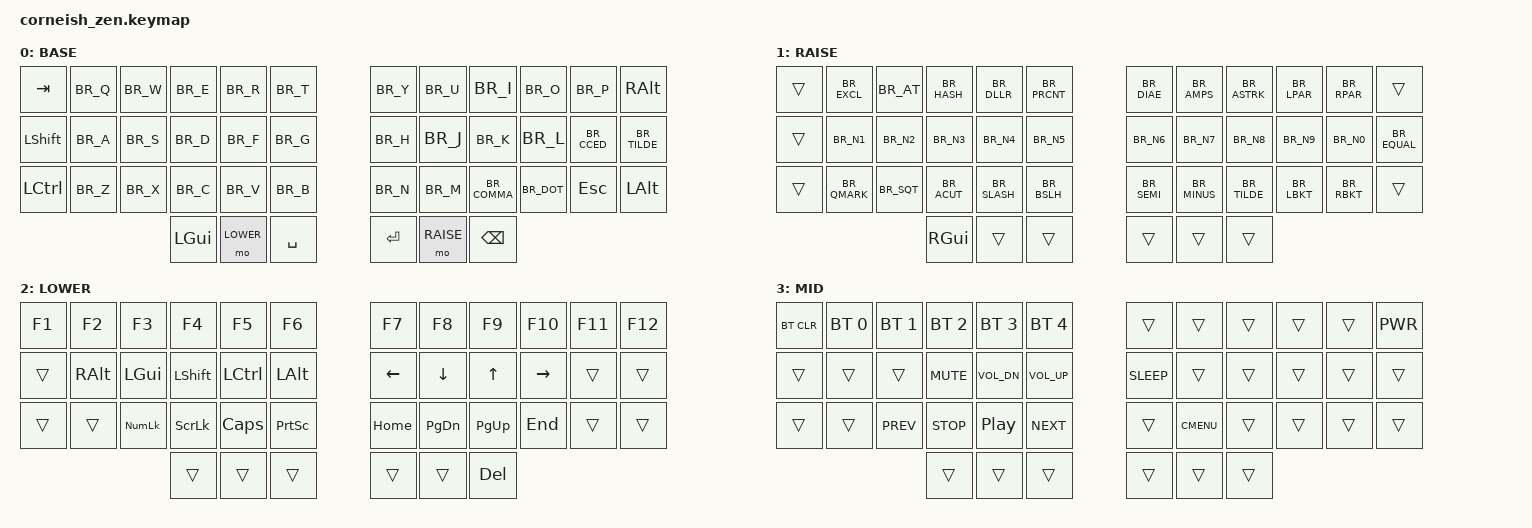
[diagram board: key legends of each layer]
#include <behaviors.dtsi>
#include <dt-bindings/zmk/keys.h>
#include <dt-bindings/zmk/bt.h>
#include "abnt2.h"

#define BASE 0
#define RAISE 1
#define LOWER 2
#define MID 3

/ {
      conditional_layers {
         compatible = "zmk,conditional-layers";
         tri_layer {
            if-layers = <RAISE LOWER>;
            then-layer = <MID>;
         };
      };
};

/ {
      chosen {
         zmk,matrix_transform = &default_transform;
         //zmk,matrix_transform = &five_column_transform;
      };
};

/ {
      keymap {
         compatible = "zmk,keymap";

         default_layer {
               label = "BASE";
// |     TAB    |      Q     |     W     |     E     |      R     |      T     |  |      Y      |      U      |      I     |     O      |     P      |     ALTGR  |
// |     SHFT   |      A     |     S     |     D     |      F     |      G     |  |      H      |      J      |      K     |     L      |     Ç      |            |
// |     CTRL   |      Z     |     X     |     C     |      V     |      B     |  |      N      |      M      |      ,     |     .      |     ESC    |     ALT    |
//                                       |     GUI   |      LOWER |      SPC   |  |      ENT    |      RAISE  |      BKSP  |
               bindings = < 
   &kp TAB   &kp BR_Q  &kp BR_W  &kp BR_E  &kp BR_R  &kp BR_T                            &kp BR_Y  &kp BR_U   &kp BR_I     &kp BR_O   &kp BR_P    &kp RALT
   &kp LSHFT &kp BR_A  &kp BR_S  &kp BR_D  &kp BR_F  &kp BR_G                            &kp BR_H  &kp BR_J   &kp BR_K     &kp BR_L   &kp BR_CCED &kp BR_TILDE
   &kp LCTRL &kp BR_Z  &kp BR_X  &kp BR_C  &kp BR_V  &kp BR_B                            &kp BR_N  &kp BR_M   &kp BR_COMMA &kp BR_DOT &kp ESC     &kp LALT
                                 &kp LGUI  &mo LOWER &kp SPACE                           &kp RET &mo RAISE  &kp BSPC
                        >;
                };

         raise_layer {
               label = "RAISE";
// |            |      !     |      @     |      #     |      $     |     %     |  |      ¨      |      &     |      *     |      (     |      )     |            |
// |            |      1     |      2     |      3     |      4     |     5     |  |      6      |      7     |      8     |      9     |      0     |      =     |
// |            |      ?     |      '     |      `     |      /     |     \     |  |      ;      |      -     |      ~     |      [     |      ]     |            |
//                                        |      GUI   |            |           |  |             |            |            |
               bindings = <
   &trans &kp BR_EXCL  &kp BR_AT  &kp BR_HASH  &kp BR_DLLR  &kp BR_PRCNT                  &kp BR_DIAE &kp BR_AMPS  &kp BR_ASTRK &kp BR_LPAR &kp BR_RPAR &trans
   &trans &kp BR_N1    &kp BR_N2  &kp BR_N3    &kp BR_N4    &kp BR_N5                     &kp BR_N6   &kp BR_N7    &kp BR_N8    &kp BR_N9   &kp BR_N0   &kp BR_EQUAL
   &trans &kp BR_QMARK &kp BR_SQT &kp BR_ACUT  &kp BR_SLASH &kp BR_BSLH                   &kp BR_SEMI &kp BR_MINUS &kp BR_TILDE &kp BR_LBKT &kp BR_RBKT &trans
                                  &kp RGUI     &trans       &trans                        &trans &trans &trans 
                        >;
                };

         lower_layer {
               label = "LOWER";
// |     F1     |     F2     |     F3     |     F4     |     F5     |     F6     |  |     F7     |     F8     |     F9     |     F10    |     F11    |    F12     |
// |            |     ALTGR  |   GUI      |     SHFT   |     CTRL   |     ALT    |  |     LFT    |     DWN    |     UP     |     RGT    |            |            |
// |            |            |   NUMLCK   |   SCRLCK   |   CAPSLCK  |   PSCRN    |  |     HOME   |     PGDWN  |     PGUP   |     END    |            |            |
//                                        |            |            |            |  |            |            |     DEL    |
               bindings = <
   &kp F1     &kp F2     &kp F3        &kp F4      &kp F5        &kp F6                   &kp F7    &kp F8    &kp F9    &kp F10   &kp F11 &kp F12  
   &trans     &kp RALT   &kp LGUI      &kp LSHFT   &kp LCTRL     &kp LALT                 &kp LEFT  &kp DOWN  &kp UP    &kp RIGHT &trans  &trans
   &trans     &trans     &kp KP_NLCK   &kp SLCK    &kp CLCK      &kp PRINTSCREEN          &kp HOME  &kp PG_DN &kp PG_UP &kp END   &trans  &trans
                                       &trans      &trans        &trans                    &trans    &trans    &kp DEL
                        >;
                };

         mid_layer {
               label = "MID";
// |   BTCLR    |     BT1    |     BT2    |     BT3    |     BT4    |     BT5    |  |            |            |            |            |            |    PWR     |
// |            |            |            |    MUTE    |    VOL-    |    VOL+    |  |    SLEEP   |            |            |            |            |            |
// |            |            |     PREV   |    STOP    | PLAY/PAUSE |    NEXT    |  |            |   APPMENU  |            |            |            |            |
//                                        |            |            |            |  |            |            |            |
               bindings = <
   &bt BT_CLR &bt BT_SEL 0 &bt BT_SEL 1 &bt BT_SEL 2 &bt BT_SEL 3 &bt BT_SEL 4           &trans  &trans  &trans  &trans  &trans  &kp C_PWR
   &trans     &trans       &trans       &kp C_MUTE   &kp C_VOL_DN &kp C_VOL_UP           &kp K_SLEEP  &trans  &trans  &trans  &trans  &trans
   &trans     &trans       &kp C_PREV   &kp C_STOP   &kp C_PP     &kp C_NEXT             &trans  &kp K_CMENU  &trans  &trans  &trans  &trans
                                        &trans       &trans       &trans                 &trans &trans &trans
                        >;
                };
        };
};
